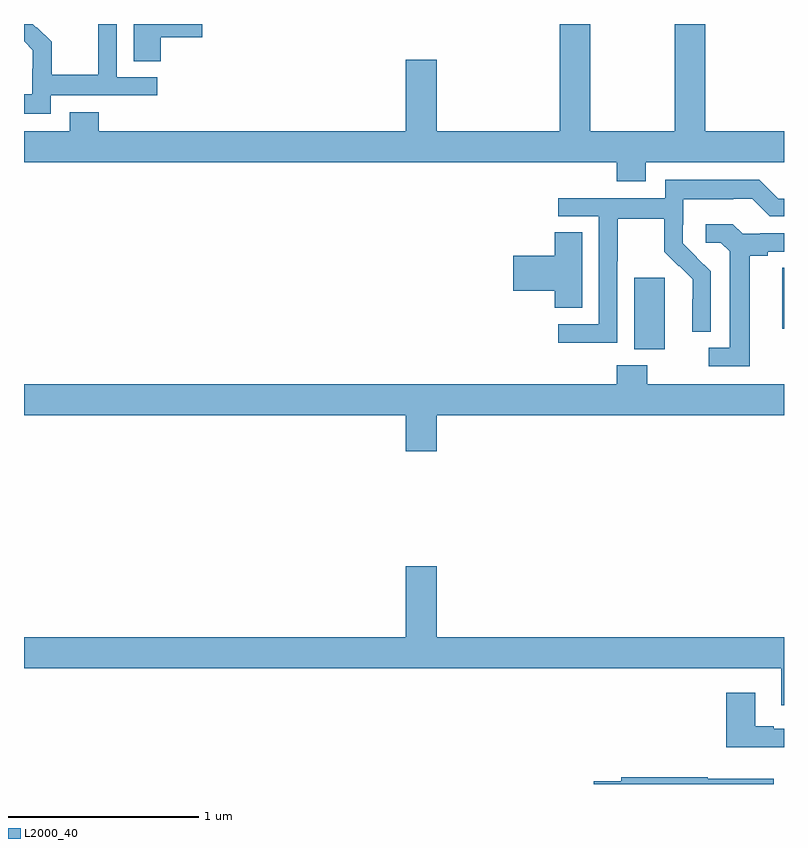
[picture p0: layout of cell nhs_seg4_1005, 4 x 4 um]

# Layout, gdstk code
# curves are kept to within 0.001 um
import gdstk
lib = gdstk.Library(unit=1e-6, precision=1e-09)
def R(c, l, rs):  # rectangles x0, y0, x1, y1
    for r in rs: c.add(gdstk.rectangle(r[:2], r[2:], *l))
def P(c, l, *ps):  # polygons
    for p in ps: c.add(gdstk.Polygon(p, *l))
L2000_40 = (2000, 40)

nhs_seg4_1005 = lib.new_cell('nhs_seg4_1005')
R(nhs_seg4_1005, L2000_40, [(166.211,777.188,166.372,777.565), (166.991,777.297,167,777.617)])
P(nhs_seg4_1005, L2000_40, [(166.273,778.172),(167,778.172),(167,778.336),(166.586,778.336),(166.586,778.9),(166.426,778.9),(166.426,778.336),(165.981,778.336),(165.981,778.9),(165.821,778.9),(165.821,778.336),(165.172,778.336),(165.172,778.711),(165.008,778.711),(165.008,778.336),(163.394,778.336),(163.394,778.435),(163.241,778.435),(163.241,778.336),(163,778.336),(163,778.172),(166.121,778.172),(166.121,778.073),(166.273,778.073)],
  [(163.14,778.524),(163.702,778.524),(163.702,778.62),(163.488,778.62),(163.488,778.9),(163.392,778.9),(163.392,778.856),(163.39,778.856),(163.39,778.633),(163.145,778.633),(163.145,778.807),(163.068,778.884),(163.065,778.881),(163.046,778.9),(163,778.9),(163,778.808),(163.046,778.762),(163.046,778.665),(163.044,778.665),(163.044,778.531),(163,778.531),(163,778.427),(163.14,778.427)],
  [(163.721,778.829),(163.939,778.829),(163.939,778.9),(163.577,778.9),(163.577,778.705),(163.721,778.705)],
  [(166.122,777.652),(166.125,777.652),(166.125,777.876),(166.369,777.876),(166.369,777.701),(166.446,777.624),(166.449,777.627),(166.52,777.557),(166.52,777.452),(166.517,777.452),(166.517,777.28),(166.614,777.28),(166.614,777.598),(166.468,777.746),(166.468,777.843),(166.47,777.843),(166.47,777.977),(166.733,777.977),(166.733,777.981),(166.833,777.981),(166.926,777.888),(167,777.888),(167,777.981),(166.971,777.981),(166.871,778.081),(166.374,778.081),(166.374,777.984),(165.813,777.984),(165.813,777.888),(166.026,777.888),(166.026,777.321),(165.813,777.321),(165.813,777.223),(166.122,777.223)],
  [(166.819,777.68),(166.915,777.68),(166.915,777.702),(167,777.702),(167,777.798),(166.876,777.798),(166.876,777.795),(166.782,777.795),(166.73,777.847),(166.587,777.847),(166.587,777.75),(166.668,777.75),(166.715,777.703),(166.715,777.195),(166.605,777.195),(166.605,777.099),(166.819,777.099)],
  [(165.937,777.803),(165.794,777.803),(165.794,777.68),(165.576,777.68),(165.576,777.497),(165.794,777.497),(165.794,777.406),(165.937,777.406)],
  [(165.172,776.84),(167,776.84),(167,777.004),(166.281,777.004),(166.281,777.103),(166.121,777.103),(166.121,777.004),(163,777.004),(163,776.84),(165.008,776.84),(165.008,776.652),(165.172,776.652)],
  [(167,775.672),(165.172,775.672),(165.172,776.047),(165.008,776.047),(165.008,775.672),(163,775.672),(163,775.508),(166.985,775.508),(166.985,775.314),(167,775.314)],
  [(167,775.191),(166.945,775.191),(166.945,775.204),(166.849,775.204),(166.849,775.381),(166.697,775.381),(166.697,775.094),(167,775.094)],
  [(166.945,774.928),(166.598,774.928),(166.598,774.935),(166.144,774.935),(166.144,774.915),(165.998,774.915),(165.998,774.9),(166.945,774.9)])

lib.write_gds('nhs_seg4_1005.gds')
